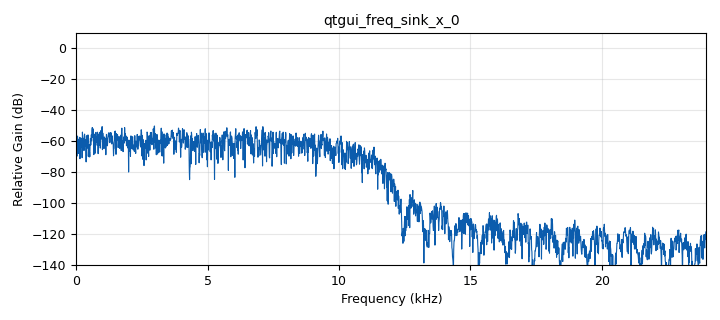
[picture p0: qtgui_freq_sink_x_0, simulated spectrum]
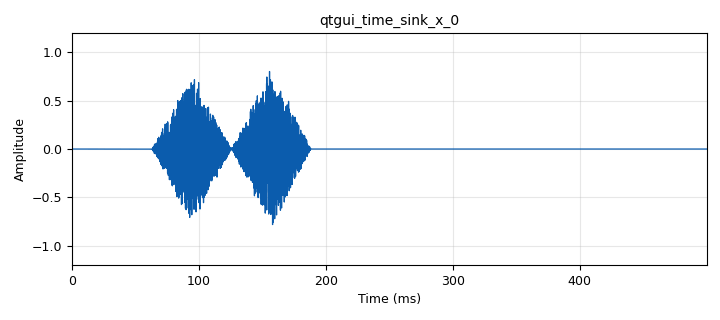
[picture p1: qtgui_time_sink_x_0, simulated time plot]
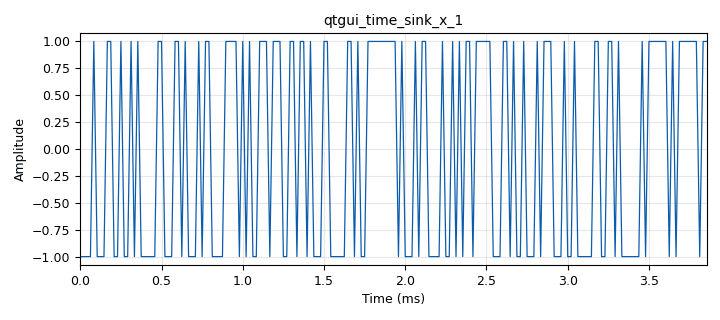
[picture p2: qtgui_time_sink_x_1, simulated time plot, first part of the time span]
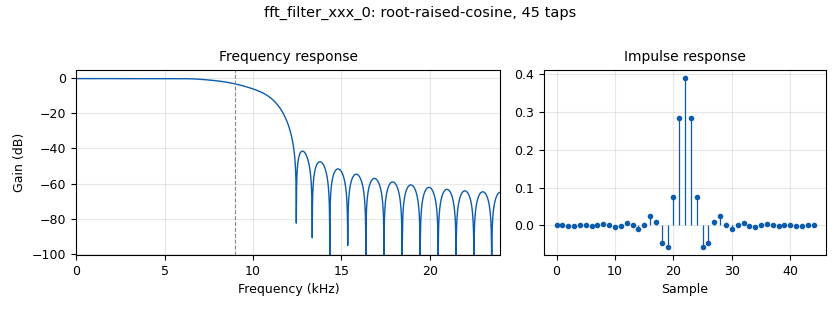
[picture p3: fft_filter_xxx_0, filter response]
options:
  parameters:
    author: Teque5
    generate_options: qt_gui
    id: generate
    output_language: python
    title: Generate Pulses
  states: {}

blocks:
- name: rrc_taps
  id: variable_rrc_filter_taps
  parameters:
    alpha: '0.35'
    gain: '.95'
    ntaps: 11*4
    samp_rate: samp_rate
    sym_rate: samp_rate*3/8
  states: {}
- name: samp_rate
  id: variable
  parameters:
    value: '48000'
  states: {}
- name: analog_const_source_x_0
  id: analog_const_source_x
  parameters:
    const: '0'
    type: float
  states: {}
- name: analog_sig_source_x_0
  id: analog_sig_source_x
  parameters:
    amp: '1'
    freq: '16'
    offset: '0'
    phase: np.pi
    samp_rate: samp_rate
    type: float
    waveform: analog.GR_TRI_WAVE
  states: {}
- name: analog_sig_source_x_1
  id: analog_sig_source_x
  parameters:
    amp: '.2'
    freq: samp_rate/2**15
    offset: '.8'
    phase: '0'
    samp_rate: samp_rate
    type: float
    waveform: analog.GR_COS_WAVE
  states: {}
- name: audio_sink_0
  id: audio_sink
  parameters:
    samp_rate: '48000'
  states: {}
- name: blocks_head_0
  id: blocks_head
  parameters:
    num_items: samp_rate*5
    type: float
  states: {}
- name: blocks_multiply_xx_0
  id: blocks_multiply_xx
  parameters:
    num_inputs: '3'
    type: float
  states: {}
- name: blocks_patterned_interleaver_0
  id: blocks_patterned_interleaver
  parameters:
    pattern: '[1]*3000+[0]*6000+[1]*15000'
    type: float
  states: {}
- name: blocks_stream_to_tagged_stream_0
  id: blocks_stream_to_tagged_stream
  parameters:
    len_tag_key: '"packet_len"'
    packet_len: samp_rate//2
    type: float
  states: {}
- name: blocks_throttle_0
  id: blocks_throttle
  parameters:
    samples_per_second: samp_rate
    type: float
  states: {state: bypassed}
- name: blocks_wavfile_sink_0
  id: blocks_wavfile_sink
  parameters:
    bits_per_sample: '16'
    file: 10_bursts.wav
    samp_rate: samp_rate
  states: {}
- name: digital_glfsr_source_x_0
  id: digital_glfsr_source_x
  parameters:
    degree: '32'
    mask: '0'
    repeat: 'True'
    seed: '0x10000002'
    type: float
  states: {}
- name: fft_filter_xxx_0
  id: fft_filter_xxx
  parameters:
    decim: '1'
    taps: rrc_taps
    type: fff
  states: {}
- name: import_0
  id: import
  parameters:
    imports: import numpy as np
  states: {}
- name: import_1
  id: import
  parameters:
    imports: import os
  states: {}
- name: qtgui_freq_sink_x_0
  id: qtgui_freq_sink_x
  parameters:
    bw: samp_rate
    fc: '0'
    fftsize: 1024*4
    freqhalf: 'False'
    tr_mode: qtgui.TRIG_MODE_TAG
    tr_tag: '"packet_len"'
    type: float
    wintype: firdes.WIN_BLACKMAN_hARRIS
  states: {}
- name: qtgui_time_sink_x_0
  id: qtgui_time_sink_x
  parameters:
    size: samp_rate//2
    srate: samp_rate
    tr_mode: qtgui.TRIG_MODE_TAG
    tr_tag: '"packet_len"'
    type: float
    ymax: '1.2'
    ymin: '-1.2'
  states: {}
- name: qtgui_time_sink_x_1
  id: qtgui_time_sink_x
  parameters:
    size: '1024'
    srate: samp_rate
    type: float
  states: {}
- name: sigmf_sink_0
  id: sigmf_sink
  parameters:
    append: 'False'
    author: Teque5
    description: 10 Bursts for CAF Testing
    field_10_key: ''
    field_10_type: string
    field_10_value: ''
    field_11_key: ''
    field_11_type: string
    field_11_value: ''
    field_12_key: ''
    field_12_type: string
    field_12_value: ''
    field_13_key: ''
    field_13_type: string
    field_13_value: ''
    field_14_key: ''
    field_14_type: string
    field_14_value: ''
    field_15_key: ''
    field_15_type: string
    field_15_value: ''
    field_16_key: ''
    field_16_type: string
    field_16_value: ''
    field_17_key: ''
    field_17_type: string
    field_17_value: ''
    field_18_key: ''
    field_18_type: string
    field_18_value: ''
    field_19_key: ''
    field_19_type: string
    field_19_value: ''
    field_1_key: ''
    field_1_type: string
    field_1_value: ''
    field_20_key: ''
    field_20_type: string
    field_20_value: ''
    field_21_key: ''
    field_21_type: string
    field_21_value: ''
    field_22_key: ''
    field_22_type: string
    field_22_value: ''
    field_23_key: ''
    field_23_type: string
    field_23_value: ''
    field_24_key: ''
    field_24_type: string
    field_24_value: ''
    field_25_key: ''
    field_25_type: string
    field_25_value: ''
    field_2_key: ''
    field_2_type: string
    field_2_value: ''
    field_3_key: ''
    field_3_type: string
    field_3_value: ''
    field_4_key: ''
    field_4_type: string
    field_4_value: ''
    field_5_key: ''
    field_5_type: string
    field_5_value: ''
    field_6_key: ''
    field_6_type: string
    field_6_value: ''
    field_7_key: ''
    field_7_type: string
    field_7_value: ''
    field_8_key: ''
    field_8_type: string
    field_8_value: ''
    field_9_key: ''
    field_9_type: string
    field_9_value: ''
    filename: 10_bursts
    hardware: Laptop
    license: ''
    num_extra_fields: '0'
    samp_rate: samp_rate
    time_mode: gr_sigmf.sigmf_time_mode_relative
    type: f32
  states: {}
- name: virtual_sink_0
  id: virtual_sink
  parameters:
    stream_id: modulated
  states: {}
- name: virtual_sink_1
  id: virtual_sink
  parameters:
    stream_id: clean
  states: {}
- name: virtual_source_0
  id: virtual_source
  parameters:
    stream_id: modulated
  states: {}
- name: virtual_source_1
  id: virtual_source
  parameters:
    stream_id: clean
  states: {}

connections:
- [analog_const_source_x_0, '0', blocks_patterned_interleaver_0, '1']
- [analog_sig_source_x_0, '0', blocks_multiply_xx_0, '2']
- [analog_sig_source_x_1, '0', blocks_multiply_xx_0, '1']
- [blocks_head_0, '0', blocks_throttle_0, '0']
- [blocks_multiply_xx_0, '0', virtual_sink_0, '0']
- [blocks_patterned_interleaver_0, '0', blocks_stream_to_tagged_stream_0, '0']
- [blocks_stream_to_tagged_stream_0, '0', blocks_head_0, '0']
- [blocks_throttle_0, '0', fft_filter_xxx_0, '0']
- [digital_glfsr_source_x_0, '0', blocks_multiply_xx_0, '0']
- [digital_glfsr_source_x_0, '0', qtgui_time_sink_x_1, '0']
- [fft_filter_xxx_0, '0', virtual_sink_1, '0']
- [virtual_source_0, '0', blocks_patterned_interleaver_0, '0']
- [virtual_source_1, '0', audio_sink_0, '0']
- [virtual_source_1, '0', blocks_wavfile_sink_0, '0']
- [virtual_source_1, '0', qtgui_freq_sink_x_0, '0']
- [virtual_source_1, '0', qtgui_time_sink_x_0, '0']
- [virtual_source_1, '0', sigmf_sink_0, '0']

metadata:
  file_format: 1
